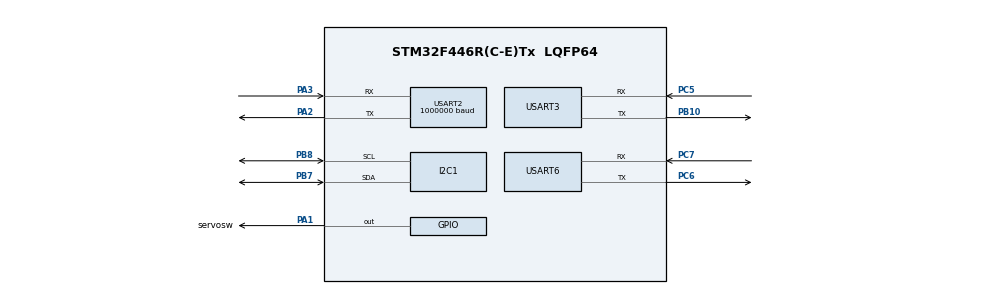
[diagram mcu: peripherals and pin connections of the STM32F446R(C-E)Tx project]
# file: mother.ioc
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Dma.Request0=USART3_RX
Dma.USART3_RX.0.Direction=DMA_PERIPH_TO_MEMORY
Dma.USART3_RX.0.FIFOMode=DMA_FIFOMODE_DISABLE
Dma.USART3_RX.0.Instance=DMA1_Stream1
Dma.USART3_RX.0.MemDataAlignment=DMA_MDATAALIGN_BYTE
Dma.USART3_RX.0.MemInc=DMA_MINC_ENABLE
Dma.USART3_RX.0.Mode=DMA_CIRCULAR
Dma.USART3_RX.0.PeriphDataAlignment=DMA_PDATAALIGN_BYTE
Dma.USART3_RX.0.PeriphInc=DMA_PINC_DISABLE
Dma.USART3_RX.0.Priority=DMA_PRIORITY_HIGH
Mcu.Family=STM32F4
Mcu.Name=STM32F446R(C-E)Tx
Mcu.Package=LQFP64
NVIC.DMA1_Stream1_IRQn=true\:0\:0\:false\:false\:true\:false\:true\:true
NVIC.PriorityGroup=NVIC_PRIORITYGROUP_4
PA1.GPIO_Label=servosw
PA1.Signal=GPIO_Output
PA2.Mode=Asynchronous
PA2.Signal=USART2_TX
PA3.Mode=Asynchronous
PA3.Signal=USART2_RX
PB10.Mode=Asynchronous
PB10.Signal=USART3_TX
PB7.Mode=I2C
PB7.Signal=I2C1_SDA
PB8.Mode=I2C
PB8.Signal=I2C1_SCL
PC5.Mode=Asynchronous
PC5.Signal=USART3_RX
PC6.Mode=Asynchronous
PC6.Signal=USART6_TX
PC7.Mode=Asynchronous
PC7.Signal=USART6_RX
ProjectManager.HeapSize=0x200
ProjectManager.StackSize=0x400
ProjectManager.TargetToolchain=STM32CubeIDE
RCC.CortexFreq_Value=16000000
RCC.USBFreq_Value=96000000
RCC.VCOOutputFreq_Value=192000000
USART2.BaudRate=1000000
USART2.VirtualMode=VM_ASYNC
USART3.VirtualMode=VM_ASYNC
USART6.VirtualMode=VM_ASYNC
board=custom

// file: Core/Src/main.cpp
/* USER CODE BEGIN Header */
/**
  ******************************************************************************
  * @file           : main.c
  * @brief          : Main program body
  ******************************************************************************
  * @attention
  *
  * Copyright (c) 2024 STMicroelectronics.
  * All rights reserved.
  *
  * This software is licensed under terms that can be found in the LICENSE file
  * in the root directory of this software component.
  * If no LICENSE file comes with this software, it is provided AS-IS.
  *
  ******************************************************************************
  */
/* USER CODE END Header */
#include "main.h"

/* USER CODE BEGIN Includes */
#include "servo.h"
#include "BNO055.hpp"

/* USER CODE END Includes */

I2C_HandleTypeDef hi2c1;

UART_HandleTypeDef huart2;
UART_HandleTypeDef huart3;
UART_HandleTypeDef huart6;
DMA_HandleTypeDef hdma_usart3_rx;

/* USER CODE BEGIN PV */
STS_SERVO servo0(0, &huart2);
STS_SERVO servo1(1, &huart2);
STS_SERVO servo2(2, &huart2);
STS_SERVO servo3(3, &huart2);

uint8_t receive_value = 0;
uint16_t angle_IR = 0;

uint8_t ready = 0;
float rotate;

/* USER CODE END PV */

void SystemClock_Config(void);
static void MX_GPIO_Init(void);
static void MX_DMA_Init(void);
static void MX_USART2_UART_Init(void);
static void MX_USART3_UART_Init(void);
static void MX_I2C1_Init(void);
static void MX_USART6_UART_Init(void);

int main(void)
{

  /* MCU Configuration--------------------------------------------------------*/

  /* Reset of all peripherals, Initializes the Flash interface and the Systick. */
  HAL_Init();

  /* Configure the system clock */
  SystemClock_Config();

  /* Initialize all configured peripherals */
  MX_GPIO_Init();
  MX_DMA_Init();
  MX_USART2_UART_Init();
  MX_USART3_UART_Init();
  MX_I2C1_Init();
  MX_USART6_UART_Init();
  /* USER CODE BEGIN 2 */
  HAL_Delay(1000);
  while (!ready) {
    if (HAL_I2C_IsDeviceReady(&hi2c1, 0x28<< 1, 10, 1000) == HAL_OK) {
      ready = 1;
    } else {
      HAL_Delay(100);
    }
  }
  HAL_GPIO_WritePin(servosw_GPIO_Port, servosw_Pin, GPIO_PIN_SET);

  /* USER CODE END 2 */

  /* Infinite loop */
  /* USER CODE BEGIN WHILE */
  unsigned char address = 0x28;
  BNO055 bno055(hi2c1,address);
  EULAR e;

  while (1)
  {
    /* USER CODE END WHILE */

    /* USER CODE BEGIN 3 */
	  e = bno055.get_eular();
	  rotate = (e.z/3.1415)*180;
	  rotate = (int)rotate;
	  HAL_UART_Receive_DMA(&huart3, &receive_value, 1);
	  angle_IR = (receive_value - 100) * 5;
	  if(angle_IR <= 360){
		  servo0.exe_servo(angle_IR);
	  }

  }
  /* USER CODE END 3 */
}

void SystemClock_Config(void)
{
  RCC_OscInitTypeDef RCC_OscInitStruct = {0};
  RCC_ClkInitTypeDef RCC_ClkInitStruct = {0};

  /** Configure the main internal regulator output voltage
  */
  __HAL_RCC_PWR_CLK_ENABLE();
  __HAL_PWR_VOLTAGESCALING_CONFIG(PWR_REGULATOR_VOLTAGE_SCALE3);

  /** Initializes the RCC Oscillators according to the specified parameters
  * in the RCC_OscInitTypeDef structure.
  */
  RCC_OscInitStruct.OscillatorType = RCC_OSCILLATORTYPE_HSI;
  RCC_OscInitStruct.HSIState = RCC_HSI_ON;
  RCC_OscInitStruct.HSICalibrationValue = RCC_HSICALIBRATION_DEFAULT;
  RCC_OscInitStruct.PLL.PLLState = RCC_PLL_NONE;
  if (HAL_RCC_OscConfig(&RCC_OscInitStruct) != HAL_OK)
  {
    Error_Handler();
  }

  /** Initializes the CPU, AHB and APB buses clocks
  */
  RCC_ClkInitStruct.ClockType = RCC_CLOCKTYPE_HCLK|RCC_CLOCKTYPE_SYSCLK
                              |RCC_CLOCKTYPE_PCLK1|RCC_CLOCKTYPE_PCLK2;
  RCC_ClkInitStruct.SYSCLKSource = RCC_SYSCLKSOURCE_HSI;
  RCC_ClkInitStruct.AHBCLKDivider = RCC_SYSCLK_DIV1;
  RCC_ClkInitStruct.APB1CLKDivider = RCC_HCLK_DIV1;
  RCC_ClkInitStruct.APB2CLKDivider = RCC_HCLK_DIV1;

  if (HAL_RCC_ClockConfig(&RCC_ClkInitStruct, FLASH_LATENCY_0) != HAL_OK)
  {
    Error_Handler();
  }
}

static void MX_I2C1_Init(void)
{

  hi2c1.Instance = I2C1;
  hi2c1.Init.ClockSpeed = 100000;
  hi2c1.Init.DutyCycle = I2C_DUTYCYCLE_2;
  hi2c1.Init.OwnAddress1 = 0;
  hi2c1.Init.AddressingMode = I2C_ADDRESSINGMODE_7BIT;
  hi2c1.Init.DualAddressMode = I2C_DUALADDRESS_DISABLE;
  hi2c1.Init.OwnAddress2 = 0;
  hi2c1.Init.GeneralCallMode = I2C_GENERALCALL_DISABLE;
  hi2c1.Init.NoStretchMode = I2C_NOSTRETCH_DISABLE;
  if (HAL_I2C_Init(&hi2c1) != HAL_OK)
  {
    Error_Handler();
  }

}

static void MX_USART2_UART_Init(void)
{

  huart2.Instance = USART2;
  huart2.Init.BaudRate = 1000000;
  huart2.Init.WordLength = UART_WORDLENGTH_8B;
  huart2.Init.StopBits = UART_STOPBITS_1;
  huart2.Init.Parity = UART_PARITY_NONE;
  huart2.Init.Mode = UART_MODE_TX_RX;
  huart2.Init.HwFlowCtl = UART_HWCONTROL_NONE;
  huart2.Init.OverSampling = UART_OVERSAMPLING_16;
  if (HAL_UART_Init(&huart2) != HAL_OK)
  {
    Error_Handler();
  }

}

static void MX_USART3_UART_Init(void)
{

  huart3.Instance = USART3;
  huart3.Init.BaudRate = 115200;
  huart3.Init.WordLength = UART_WORDLENGTH_8B;
  huart3.Init.StopBits = UART_STOPBITS_1;
  huart3.Init.Parity = UART_PARITY_NONE;
  huart3.Init.Mode = UART_MODE_TX_RX;
  huart3.Init.HwFlowCtl = UART_HWCONTROL_NONE;
  huart3.Init.OverSampling = UART_OVERSAMPLING_16;
  if (HAL_UART_Init(&huart3) != HAL_OK)
  {
    Error_Handler();
  }

}

static void MX_USART6_UART_Init(void)
{

  huart6.Instance = USART6;
  huart6.Init.BaudRate = 115200;
  huart6.Init.WordLength = UART_WORDLENGTH_8B;
  huart6.Init.StopBits = UART_STOPBITS_1;
  huart6.Init.Parity = UART_PARITY_NONE;
  huart6.Init.Mode = UART_MODE_TX_RX;
  huart6.Init.HwFlowCtl = UART_HWCONTROL_NONE;
  huart6.Init.OverSampling = UART_OVERSAMPLING_16;
  if (HAL_UART_Init(&huart6) != HAL_OK)
  {
    Error_Handler();
  }

}

static void MX_DMA_Init(void)
{

  /* DMA controller clock enable */
  __HAL_RCC_DMA1_CLK_ENABLE();

  /* DMA interrupt init */
  /* DMA1_Stream1_IRQn interrupt configuration */
  HAL_NVIC_SetPriority(DMA1_Stream1_IRQn, 0, 0);
  HAL_NVIC_EnableIRQ(DMA1_Stream1_IRQn);

}

static void MX_GPIO_Init(void)
{
  GPIO_InitTypeDef GPIO_InitStruct = {0};

  /* GPIO Ports Clock Enable */
  __HAL_RCC_GPIOA_CLK_ENABLE();
  __HAL_RCC_GPIOC_CLK_ENABLE();
  __HAL_RCC_GPIOB_CLK_ENABLE();

  /*Configure GPIO pin Output Level */
  HAL_GPIO_WritePin(servosw_GPIO_Port, servosw_Pin, GPIO_PIN_RESET);

  /*Configure GPIO pin : servosw_Pin */
  GPIO_InitStruct.Pin = servosw_Pin;
  GPIO_InitStruct.Mode = GPIO_MODE_OUTPUT_PP;
  GPIO_InitStruct.Pull = GPIO_NOPULL;
  GPIO_InitStruct.Speed = GPIO_SPEED_FREQ_LOW;
  HAL_GPIO_Init(servosw_GPIO_Port, &GPIO_InitStruct);

}

void Error_Handler(void)
{
  __disable_irq();
  while (1)
  {
  }
}
